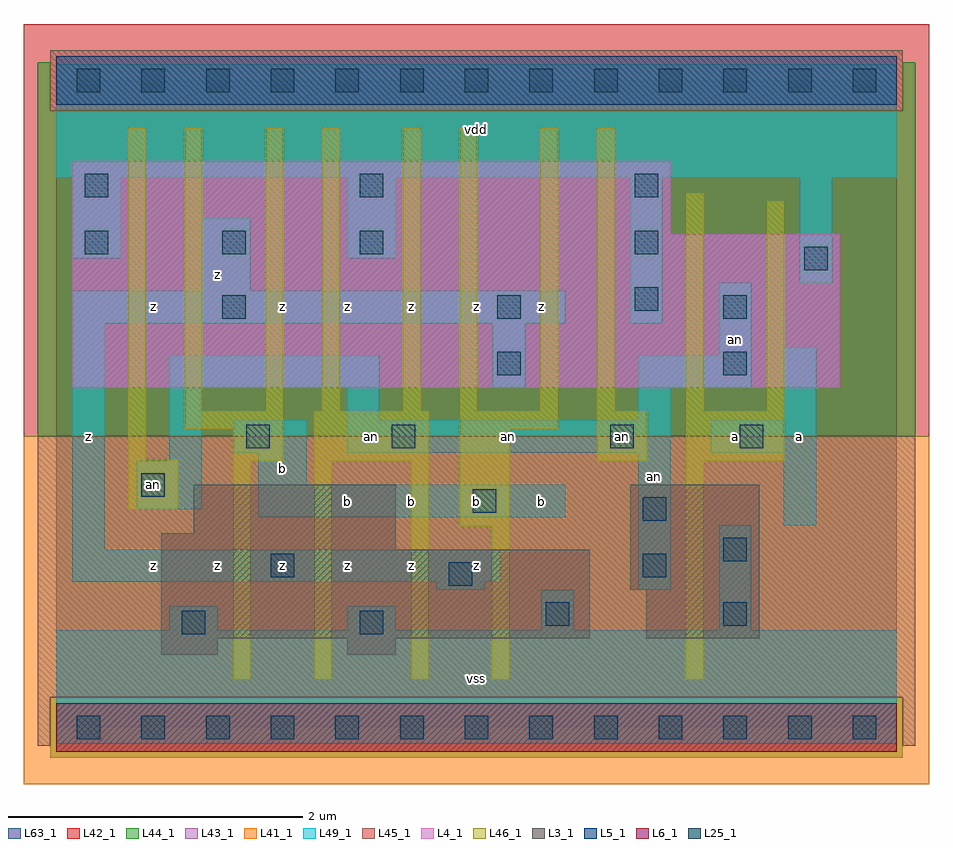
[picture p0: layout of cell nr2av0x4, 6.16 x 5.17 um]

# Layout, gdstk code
import gdstk
lib = gdstk.Library(unit=1e-6, precision=1e-09)
def R(c, l, rs):  # rectangles x0, y0, x1, y1
    for r in rs: c.add(gdstk.rectangle(r[:2], r[2:], *l))
def A(c, l, x, y, w, h, nx, ny, dx, dy):  # array of equal rectangles
    R(c, l, [(x+i*dx, y+j*dy, x+i*dx+w, y+j*dy+h) for i in range(nx) for j in range(ny)])
L3_1 = (3, 1)
L4_1 = (4, 1)
L5_1 = (5, 1)
L6_1 = (6, 1)
L25_1 = (25, 1)
L41_1 = (41, 1)
L42_1 = (42, 1)
L43_1 = (43, 1)
L44_1 = (44, 1)
L45_1 = (45, 1)
L46_1 = (46, 1)
L49_1 = (49, 1)
L63_1 = (63, 1)

nr2av0x4 = lib.new_cell('nr2av0x4')
R(nr2av0x4, L3_1, [(0.715,0.495,1.1,0.605), (1.98,0.495,2.31,0.605), (0.715,0.605,3.63,1.21), (4.015,0.605,4.785,0.935), (3.905,0.935,4.785,1.65), (0.715,1.21,2.31,1.32), (0.935,1.32,2.31,1.65)])
R(nr2av0x4, L4_1, [(0.11,2.31,5.335,3.355), (0.11,3.355,4.18,3.85)])
R(nr2av0x4, L5_1, [(0,4.235,5.72,4.565)])
R(nr2av0x4, L6_1, [(0,-0.165,5.72,0.165)])
A(nr2av0x4, L25_1, 0.14, -0.08, 0.16, 0.16, 13, 2, 0.44, 4.4)
A(nr2av0x4, L25_1, 0.195, 3.22, 0.16, 0.16, 3, 1, 0.935, 0)
A(nr2av0x4, L25_1, 0.195, 3.605, 0.16, 0.16, 3, 1, 1.87, 0)
R(nr2av0x4, L25_1, [(0.855,0.635,1.015,0.795), (2.065,0.635,2.225,0.795), (3.33,0.69,3.49,0.85), (4.54,0.69,4.7,0.85), (2.67,0.965,2.83,1.125), (1.46,1.02,1.62,1.18), (3.99,1.02,4.15,1.18), (4.54,1.13,4.7,1.29), (3.99,1.405,4.15,1.565), (2.835,1.46,2.995,1.62), (0.58,1.57,0.74,1.73), (1.295,1.9,1.455,2.06), (2.285,1.9,2.445,2.06), (3.77,1.9,3.93,2.06), (4.65,1.9,4.81,2.06), (3,2.395,3.16,2.555), (4.54,2.395,4.7,2.555), (1.13,2.78,1.29,2.94), (3,2.78,3.16,2.94), (4.54,2.78,4.7,2.94), (3.935,2.835,4.095,2.995), (5.09,3.11,5.25,3.27), (3.935,3.22,4.095,3.38)])
R(nr2av0x4, L41_1, [(-0.22,-0.385,5.94,1.98)])
R(nr2av0x4, L42_1, [(-0.22,1.98,5.94,4.785)])
R(nr2av0x4, L43_1, [(0,-0.165,5.72,0.165), (0.715,0.495,1.1,0.605), (1.98,0.495,2.31,0.605), (0.715,0.605,3.63,1.21), (4.015,0.605,4.785,0.935), (3.905,0.935,4.785,1.65), (0.715,1.21,2.31,1.32), (0.935,1.32,2.31,1.65), (0.11,2.31,5.335,3.355), (0.11,3.355,4.18,3.85), (0,4.235,5.72,4.565)])
R(nr2av0x4, L44_1, [(-0.04,-0.205,5.76,0.205), (-0.125,1.98,5.845,4.195), (-0.125,4.195,-0.04,4.525), (5.76,4.195,5.845,4.525)])
R(nr2av0x4, L45_1, [(-0.125,-0.125,-0.04,0.205), (5.76,-0.125,5.845,0.205), (-0.125,0.205,5.845,1.98), (-0.04,4.195,5.76,4.605)])
R(nr2av0x4, L46_1, [(1.205,0.325,1.325,1.81), (1.755,0.325,1.875,1.81), (2.415,0.325,2.535,1.81), (2.965,0.325,3.085,1.37), (4.285,0.325,4.405,1.81), (2.745,1.37,3.085,2.03), (0.49,1.48,0.83,1.82), (1.205,1.81,1.545,2.03), (1.755,1.81,2.535,2.15), (3.68,1.81,4.02,2.15), (4.285,1.81,4.955,2.15), (0.49,1.82,0.61,4.075), (0.875,2.03,1.545,2.15), (2.745,2.03,3.415,2.15), (0.875,2.15,0.995,4.075), (1.425,2.15,1.545,4.075), (1.81,2.15,1.93,4.075), (2.36,2.15,2.48,4.075), (2.745,2.15,2.865,4.075), (3.295,2.15,3.415,4.075), (3.68,2.15,3.8,4.075), (4.285,2.15,4.405,3.635), (4.835,2.15,4.955,3.58)])
R(nr2av0x4, L49_1, [(0,-0.11,5.72,0.66), (0.77,0.66,1.1,0.825), (1.98,0.66,2.31,0.825), (3.3,0.66,3.52,0.935), (4.51,0.66,4.73,1.375), (2.585,0.935,2.915,0.99), (3.96,0.935,4.18,1.87), (0.11,0.99,3.025,1.21), (0.11,1.21,0.33,2.75), (4.95,1.375,5.17,1.87), (1.375,1.43,3.465,1.65), (0.55,1.485,0.99,1.815), (1.375,1.65,1.705,1.87), (0.77,1.815,0.99,2.31), (1.21,1.87,1.705,2.09), (1.98,1.87,4.18,2.09), (4.455,1.87,5.17,2.09), (1.98,2.09,2.2,2.31), (3.96,2.09,4.18,2.31), (4.95,2.09,5.17,2.585), (0.77,2.31,2.2,2.53), (2.97,2.31,3.19,2.75), (3.96,2.31,4.73,2.53), (4.51,2.53,4.73,3.025), (0.11,2.75,3.465,2.97), (3.905,2.75,4.125,3.74), (0.99,2.97,1.32,3.465), (5.06,3.025,5.28,3.74), (0.11,3.19,0.44,3.74), (1.98,3.19,2.31,3.74), (0,3.74,5.72,4.51)])
R(nr2av0x4, L63_1, [(0,0,5.72,4.4)])
nr2av0x4.add(gdstk.Label('an', (0.66,1.65), layer=49, texttype=1))
nr2av0x4.add(gdstk.Label('an', (2.145,1.98), layer=46, texttype=1))
nr2av0x4.add(gdstk.Label('an', (3.85,1.98), layer=49, texttype=1))
nr2av0x4.add(gdstk.Label('z', (0.66,1.1), layer=49, texttype=1))
nr2av0x4.add(gdstk.Label('an', (0.77,1.65), layer=49, texttype=1))
nr2av0x4.add(gdstk.Label('z', (0.22,1.98), layer=49, texttype=1))
nr2av0x4.add(gdstk.Label('z', (0.66,2.86), layer=49, texttype=1))
nr2av0x4.add(gdstk.Label('z', (1.1,1.1), layer=49, texttype=1))
nr2av0x4.add(gdstk.Label('z', (1.54,1.1), layer=49, texttype=1))
nr2av0x4.add(gdstk.Label('z', (1.98,1.1), layer=49, texttype=1))
nr2av0x4.add(gdstk.Label('b', (1.98,1.54), layer=49, texttype=1))
nr2av0x4.add(gdstk.Label('b', (1.54,1.76), layer=49, texttype=1))
nr2av0x4.add(gdstk.Label('z', (1.54,2.86), layer=49, texttype=1))
nr2av0x4.add(gdstk.Label('z', (1.98,2.86), layer=49, texttype=1))
nr2av0x4.add(gdstk.Label('z', (1.1,3.08), layer=49, texttype=1))
nr2av0x4.add(gdstk.Label('vss', (2.86,0.33), layer=49, texttype=1))
nr2av0x4.add(gdstk.Label('z', (2.42,1.1), layer=49, texttype=1))
nr2av0x4.add(gdstk.Label('b', (2.42,1.54), layer=49, texttype=1))
nr2av0x4.add(gdstk.Label('z', (2.86,1.1), layer=49, texttype=1))
nr2av0x4.add(gdstk.Label('b', (2.86,1.54), layer=49, texttype=1))
nr2av0x4.add(gdstk.Label('b', (3.3,1.54), layer=49, texttype=1))
nr2av0x4.add(gdstk.Label('z', (2.86,2.86), layer=49, texttype=1))
nr2av0x4.add(gdstk.Label('z', (3.3,2.86), layer=49, texttype=1))
nr2av0x4.add(gdstk.Label('z', (2.42,2.86), layer=49, texttype=1))
nr2av0x4.add(gdstk.Label('vdd', (2.86,4.07), layer=49, texttype=1))
nr2av0x4.add(gdstk.Label('an', (4.07,1.705), layer=49, texttype=1))
nr2av0x4.add(gdstk.Label('an', (3.08,1.98), layer=49, texttype=1))
nr2av0x4.add(gdstk.Label('a', (4.62,1.98), layer=49, texttype=1))
nr2av0x4.add(gdstk.Label('a', (5.06,1.98), layer=49, texttype=1))
nr2av0x4.add(gdstk.Label('an', (4.62,2.64), layer=49, texttype=1))

lib.write_gds('nr2av0x4.gds')
